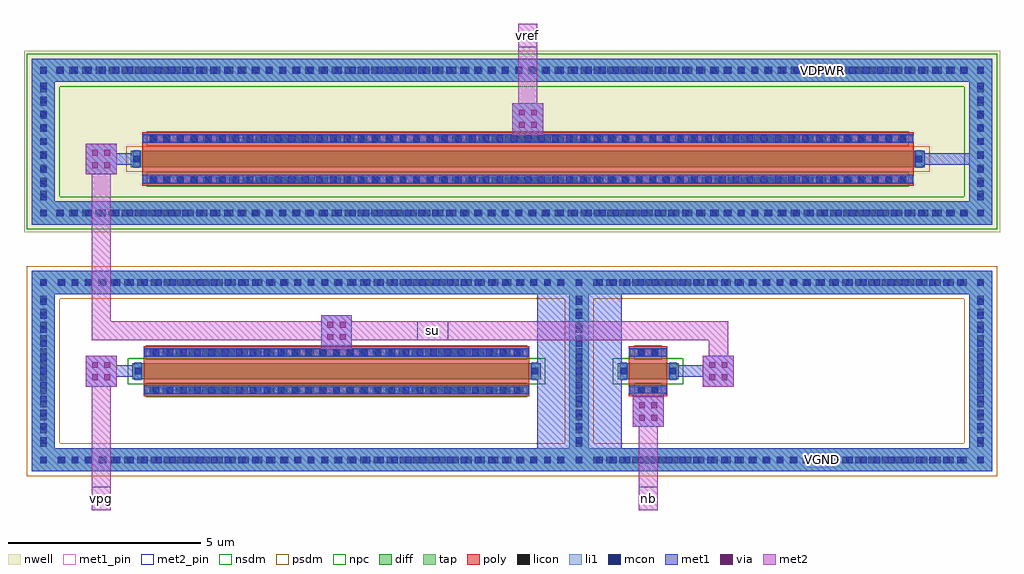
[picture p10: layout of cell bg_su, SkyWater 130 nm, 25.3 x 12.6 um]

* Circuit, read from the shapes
.subckt bg_su VDPWR VGND nb su vpg vref
XM1 VGND su vpg VGND sky130_fd_pr__nfet_01v8 w=0.42 l=10
XM2 su nb VGND VGND sky130_fd_pr__nfet_01v8 w=0.42 l=1
XM3 VDPWR vref su VDPWR sky130_fd_pr__pfet_01v8 w=0.42 l=20
.ends

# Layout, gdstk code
from math import pi, radians
import gdstk
lib = gdstk.Library(unit=1e-6, precision=1e-09)
def R(c, l, rs):  # rectangles x0, y0, x1, y1
    for r in rs: c.add(gdstk.rectangle(r[:2], r[2:], *l))
def A(c, l, x, y, w, h, nx, ny, dx, dy):  # array of equal rectangles
    R(c, l, [(x+i*dx, y+j*dy, x+i*dx+w, y+j*dy+h) for i in range(nx) for j in range(ny)])
nwell = (64, 20)
diff = (65, 20)
tap = (65, 44)
poly = (66, 20)
licon = (66, 44)
li1 = (67, 20)
mcon = (67, 44)
met1_pin = (68, 16)
met1 = (68, 20)
via = (68, 44)
met2_pin = (69, 16)
met2 = (69, 20)
nsdm = (93, 44)
psdm = (94, 20)
npc = (95, 20)

sky130_fd_pr__nfet_01v8_ = lib.new_cell('sky130_fd_pr__nfet_01v8_RSB7T4')
R(sky130_fd_pr__nfet_01v8_, diff, [(-0.79,-0.21,0.79,0.21)])
R(sky130_fd_pr__nfet_01v8_, poly, [(-0.5,-0.65,0.5,0.65)])
R(sky130_fd_pr__nfet_01v8_, licon, [(-0.255,-0.57,-0.085,-0.4), (0.085,-0.57,0.255,-0.4), (-0.73,-0.085,-0.56,0.085), (0.56,-0.085,0.73,0.085), (-0.255,0.4,-0.085,0.57), (0.085,0.4,0.255,0.57)])
R(sky130_fd_pr__nfet_01v8_, li1, [(-0.5,-0.57,0.5,-0.4), (-0.73,-0.23,-0.56,0.23), (0.56,-0.23,0.73,0.23), (-0.5,0.4,0.5,0.57)])
R(sky130_fd_pr__nfet_01v8_, mcon, [(-0.265,-0.57,-0.095,-0.4), (0.095,-0.57,0.265,-0.4), (-0.73,-0.085,-0.56,0.085), (0.56,-0.085,0.73,0.085), (-0.265,0.4,-0.095,0.57), (0.095,0.4,0.265,0.57)])
R(sky130_fd_pr__nfet_01v8_, met1, [(-0.48,-0.6,0.48,-0.37), (-0.76,-0.21,-0.53,0.21), (0.53,-0.21,0.76,0.21), (-0.48,0.37,0.48,0.6)])
R(sky130_fd_pr__nfet_01v8_, nsdm, [(-0.915,-0.335,0.915,0.335)])
R(sky130_fd_pr__nfet_01v8_, npc, [(-0.355,-0.67,0.355,-0.3), (-0.355,0.3,0.355,0.67)])
sky130_fd_pr__nfet_01v8_.add(gdstk.Label('D', (-0.645,0), layer=67, texttype=5))
sky130_fd_pr__nfet_01v8_.add(gdstk.Label('S', (0.645,0), layer=67, texttype=5))
sky130_fd_pr__nfet_01v8_.add(gdstk.Label('G', (0,0.485), layer=67, texttype=5))

c_sky130_fd_pr__nfet_01v8_ = lib.new_cell('sky130_fd_pr__nfet_01v8_8KCPDG')
R(c_sky130_fd_pr__nfet_01v8_, diff, [(-5.29,-0.21,5.29,0.21)])
R(c_sky130_fd_pr__nfet_01v8_, poly, [(-5,-0.65,5,0.65)])
A(c_sky130_fd_pr__nfet_01v8_, licon, -4.845, -0.57, 0.17, 0.17, 29, 2, 0.34, 0.97)
R(c_sky130_fd_pr__nfet_01v8_, licon, [(-5.23,-0.085,-5.06,0.085), (5.06,-0.085,5.23,0.085)])
R(c_sky130_fd_pr__nfet_01v8_, li1, [(-5,-0.57,5,-0.4), (-5.23,-0.23,-5.06,0.23), (5.06,-0.23,5.23,0.23), (-5,0.4,5,0.57)])
A(c_sky130_fd_pr__nfet_01v8_, mcon, -4.765, -0.57, 0.17, 0.17, 27, 2, 0.36, 0.97)
R(c_sky130_fd_pr__nfet_01v8_, mcon, [(-5.23,-0.085,-5.06,0.085), (5.06,-0.085,5.23,0.085)])
R(c_sky130_fd_pr__nfet_01v8_, met1, [(-4.98,-0.6,4.98,-0.37), (-5.26,-0.21,-5.03,0.21), (5.03,-0.21,5.26,0.21), (-4.98,0.37,4.98,0.6)])
R(c_sky130_fd_pr__nfet_01v8_, nsdm, [(-5.415,-0.335,5.415,0.335)])
R(c_sky130_fd_pr__nfet_01v8_, npc, [(-4.945,-0.67,4.945,-0.3), (-4.945,0.3,4.945,0.67)])
c_sky130_fd_pr__nfet_01v8_.add(gdstk.Label('D', (-5.145,0), layer=67, texttype=5))
c_sky130_fd_pr__nfet_01v8_.add(gdstk.Label('S', (5.145,0), layer=67, texttype=5))
c_sky130_fd_pr__nfet_01v8_.add(gdstk.Label('G', (0,0.485), layer=67, texttype=5))

sky130_fd_pr__pfet_01v8_ = lib.new_cell('sky130_fd_pr__pfet_01v8_5QHMTN')
R(sky130_fd_pr__pfet_01v8_, nwell, [(-10.47,-0.71,10.47,0.71)])
R(sky130_fd_pr__pfet_01v8_, diff, [(-10.29,-0.21,10.29,0.21)])
R(sky130_fd_pr__pfet_01v8_, poly, [(-10,-0.695,10,0.695)])
A(sky130_fd_pr__pfet_01v8_, licon, -9.775, -0.615, 0.17, 0.17, 58, 2, 0.34, 1.06)
R(sky130_fd_pr__pfet_01v8_, licon, [(-10.23,-0.085,-10.06,0.085), (10.06,-0.085,10.23,0.085)])
R(sky130_fd_pr__pfet_01v8_, li1, [(-10,-0.615,10,-0.445), (-10.23,-0.23,-10.06,0.23), (10.06,-0.23,10.23,0.23), (-10,0.445,10,0.615)])
A(sky130_fd_pr__pfet_01v8_, mcon, -9.805, -0.615, 0.17, 0.17, 55, 2, 0.36, 1.06)
R(sky130_fd_pr__pfet_01v8_, mcon, [(-10.23,-0.085,-10.06,0.085), (10.06,-0.085,10.23,0.085)])
R(sky130_fd_pr__pfet_01v8_, met1, [(-9.98,-0.645,9.98,-0.415), (-10.26,-0.21,-10.03,0.21), (10.03,-0.21,10.26,0.21), (-9.98,0.415,9.98,0.645)])
R(sky130_fd_pr__pfet_01v8_, psdm, [(-10.415,-0.335,10.415,0.335)])
R(sky130_fd_pr__pfet_01v8_, npc, [(-9.875,-0.715,9.875,-0.345), (-9.875,0.345,9.875,0.715)])
sky130_fd_pr__pfet_01v8_.add(gdstk.Label('D', (-10.145,0), layer=67, texttype=5))
sky130_fd_pr__pfet_01v8_.add(gdstk.Label('S', (10.145,0), layer=67, texttype=5))
sky130_fd_pr__pfet_01v8_.add(gdstk.Label('G', (0,0.53), layer=67, texttype=5))

bg_su_arr = lib.new_cell('bg_su_arr')
R(bg_su_arr, nwell, [(-0.2,6.2,25.1,10.9)])
R(bg_su_arr, tap, [(0,0,24.9,0.6), (0,0.6,0.6,4.6), (13.94,0.6,14.44,4.6), (24.3,0.6,24.9,4.6), (0,4.6,24.9,5.2), (0,6.4,24.9,7), (0,7,0.6,10.1), (24.3,7,24.9,10.1), (0,10.1,24.9,10.7)])
A(bg_su_arr, licon, 0.7, 0.215, 0.17, 0.17, 39, 2, 0.34, 4.6)
A(bg_su_arr, licon, 14.55, 0.215, 0.17, 0.17, 29, 2, 0.34, 4.6)
A(bg_su_arr, licon, 0.215, 0.645, 0.17, 0.17, 1, 12, 0, 0.34)
A(bg_su_arr, licon, 14.105, 0.645, 0.17, 0.17, 1, 12, 0, 0.34)
A(bg_su_arr, licon, 24.515, 0.645, 0.17, 0.17, 1, 12, 0, 0.34)
A(bg_su_arr, licon, 0.635, 6.615, 0.17, 0.17, 70, 2, 0.34, 3.7)
A(bg_su_arr, licon, 0.215, 7.105, 0.17, 0.17, 1, 9, 0, 0.34)
A(bg_su_arr, licon, 24.515, 7.105, 0.17, 0.17, 1, 9, 0, 0.34)
R(bg_su_arr, licon, [(0.215,0.215,0.385,0.385), (14.105,0.215,14.275,0.385), (24.515,0.215,24.685,0.385), (0.215,4.815,0.385,4.985), (14.105,4.815,14.275,4.985), (24.515,4.815,24.685,4.985), (0.215,6.615,0.385,6.785), (24.515,6.615,24.685,6.785), (0.215,10.315,0.385,10.485), (24.515,10.315,24.685,10.485)])
R(bg_su_arr, li1, [(0,0,24.9,0.6), (0,0.6,0.6,4.6), (13.94,0.6,14.44,4.6), (24.3,0.6,24.9,4.6), (0,4.6,24.9,5.2), (0,6.4,24.9,7), (0,7,0.6,10.1), (24.3,7,24.9,10.1), (0,10.1,24.9,10.7)])
A(bg_su_arr, mcon, 0.68, 0.215, 0.17, 0.17, 37, 2, 0.36, 4.6)
A(bg_su_arr, mcon, 14.63, 0.215, 0.17, 0.17, 27, 2, 0.36, 4.6)
A(bg_su_arr, mcon, 0.215, 0.715, 0.17, 0.17, 1, 11, 0, 0.36)
A(bg_su_arr, mcon, 14.105, 0.715, 0.17, 0.17, 1, 11, 0, 0.36)
A(bg_su_arr, mcon, 24.515, 0.715, 0.17, 0.17, 1, 11, 0, 0.36)
A(bg_su_arr, mcon, 0.665, 6.615, 0.17, 0.17, 66, 2, 0.36, 3.7)
A(bg_su_arr, mcon, 0.215, 7.025, 0.17, 0.17, 1, 9, 0, 0.36)
A(bg_su_arr, mcon, 24.515, 7.025, 0.17, 0.17, 1, 9, 0, 0.36)
R(bg_su_arr, mcon, [(0.215,0.215,0.385,0.385), (14.105,0.215,14.275,0.385), (24.515,0.215,24.685,0.385), (0.215,4.815,0.385,4.985), (14.105,4.815,14.275,4.985), (24.515,4.815,24.685,4.985), (0.215,6.615,0.385,6.785), (24.515,6.615,24.685,6.785), (0.215,10.315,0.385,10.485), (24.515,10.315,24.685,10.485)])
R(bg_su_arr, met1, [(0,0,24.9,0.6), (0,0.6,0.6,4.6), (13.1,0.6,15.3,4.6), (24.3,0.6,24.9,4.6), (15.58,1.155,16.38,2.185), (1.4,2.2,2.2,2.45), (17.4,2.2,18.2,2.45), (1.4,2.45,2.87,2.75), (16.51,2.45,18.2,2.75), (1.4,2.75,2.2,3), (17.4,2.75,18.2,3), (7.5,3.015,8.3,4.045), (0,4.6,24.9,5.2), (0,6.4,24.9,7), (0,7,0.6,10.1), (24.3,7,24.9,7.95), (1.4,7.7,2.2,7.95), (1.4,7.95,2.83,8.25), (22.89,7.95,24.9,8.25), (1.4,8.25,2.2,8.5), (24.3,8.25,24.9,10.1), (12.46,8.515,13.26,9.545), (0,10.1,24.9,10.7)])
R(bg_su_arr, via, [(15.745,1.32,15.895,1.47), (16.065,1.32,16.215,1.47), (15.745,1.64,15.895,1.79), (16.065,1.64,16.215,1.79), (1.565,2.365,1.715,2.515), (1.885,2.365,2.035,2.515), (17.565,2.365,17.715,2.515), (17.885,2.365,18.035,2.515), (1.565,2.685,1.715,2.835), (1.885,2.685,2.035,2.835), (17.565,2.685,17.715,2.835), (17.885,2.685,18.035,2.835), (7.665,3.41,7.815,3.56), (7.985,3.41,8.135,3.56), (7.665,3.73,7.815,3.88), (7.985,3.73,8.135,3.88), (1.565,7.865,1.715,8.015), (1.885,7.865,2.035,8.015), (1.565,8.185,1.715,8.335), (1.885,8.185,2.035,8.335), (12.625,8.91,12.775,9.06), (12.945,8.91,13.095,9.06), (12.625,9.23,12.775,9.38), (12.945,9.23,13.095,9.38)])
R(bg_su_arr, met2, [(15.58,1.155,16.38,1.955), (1.4,2.2,2.2,3), (17.4,2.2,18.2,3), (7.5,3.245,8.3,4.045), (1.4,7.7,2.2,8.5), (12.46,8.745,13.26,9.545)])
R(bg_su_arr, nsdm, [(-0.125,6.275,25.025,7.125), (-0.125,7.125,0.725,9.975), (24.175,7.125,25.025,9.975), (-0.125,9.975,25.025,10.825)])
R(bg_su_arr, psdm, [(-0.125,-0.125,25.025,0.725), (-0.125,0.725,0.725,4.475), (13.815,0.725,14.565,4.475), (24.175,0.725,25.025,4.475), (-0.125,4.475,25.025,5.325)])
bg_su_arr.add(gdstk.Reference(sky130_fd_pr__nfet_01v8_, (15.98,2.6), rotation=pi, x_reflection=True))
bg_su_arr.add(gdstk.Reference(c_sky130_fd_pr__nfet_01v8_, (7.9,2.6)))
bg_su_arr.add(gdstk.Reference(sky130_fd_pr__pfet_01v8_, (12.86,8.1)))

bg_su = lib.new_cell('bg_su')
R(bg_su, met1_pin, [(20.1,0.1,20.9,0.5), (20.1,10.2,20.9,10.6)])
R(bg_su, met1, [(20,0,21,0.6), (20,10.1,21,10.7)])
R(bg_su, met2_pin, [(1.55,-1,2.05,-0.4), (15.73,-1,16.23,-0.4), (10,3.395,10.8,3.895), (12.61,11,13.11,11.6)])
R(bg_su, met2, [(1.55,-1,2.05,2.6), (15.73,-1,16.23,1.555), (17.55,2.6,18.05,3.395), (1.55,3.395,18.05,3.895), (1.55,3.895,2.05,8.5), (12.61,9.145,13.11,11.6)])
bg_su.add(gdstk.Reference(bg_su_arr, (0,0)))
bg_su.add(gdstk.Label('vpg', (1.8,-0.7), layer=69, texttype=5))
bg_su.add(gdstk.Label('nb', (15.98,-0.7), layer=69, texttype=5))
bg_su.add(gdstk.Label('vref', (12.86,11.3), layer=69, texttype=5))
bg_su.add(gdstk.Label('su', (10.4,3.645), layer=69, texttype=5))
bg_su.add(gdstk.Label('VDPWR', (20.5,10.4), layer=68, texttype=5))
bg_su.add(gdstk.Label('VGND', (20.5,0.3), layer=68, texttype=5))

lib.write_gds('bg_su.gds')
